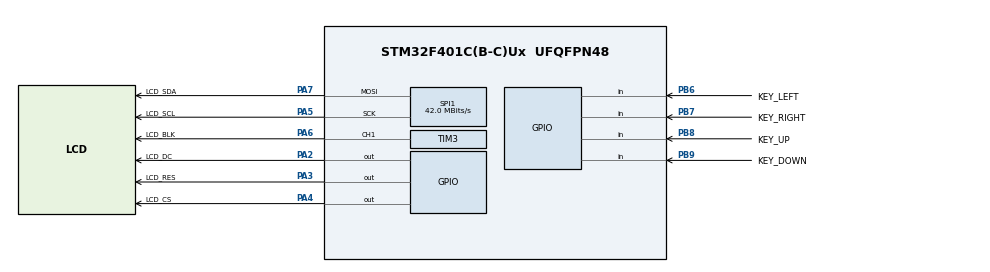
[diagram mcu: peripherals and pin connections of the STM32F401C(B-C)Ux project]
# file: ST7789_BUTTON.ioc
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Dma.Request0=SPI1_TX
Dma.SPI1_TX.0.Direction=DMA_MEMORY_TO_PERIPH
Dma.SPI1_TX.0.FIFOMode=DMA_FIFOMODE_DISABLE
Dma.SPI1_TX.0.Instance=DMA2_Stream3
Dma.SPI1_TX.0.MemDataAlignment=DMA_MDATAALIGN_HALFWORD
Dma.SPI1_TX.0.MemInc=DMA_MINC_ENABLE
Dma.SPI1_TX.0.Mode=DMA_NORMAL
Dma.SPI1_TX.0.PeriphDataAlignment=DMA_PDATAALIGN_HALFWORD
Dma.SPI1_TX.0.PeriphInc=DMA_PINC_DISABLE
Dma.SPI1_TX.0.Priority=DMA_PRIORITY_LOW
Mcu.Family=STM32F4
Mcu.Name=STM32F401C(B-C)Ux
Mcu.Package=UFQFPN48
NVIC.DMA2_Stream3_IRQn=true\:0\:0\:false\:false\:true\:false\:true\:true
NVIC.PriorityGroup=NVIC_PRIORITYGROUP_4
NVIC.TIM1_UP_TIM10_IRQn=true\:0\:0\:false\:false\:true\:true\:true\:true
PA13.Mode=Serial_Wire
PA13.Signal=SYS_JTMS-SWDIO
PA14.Mode=Serial_Wire
PA14.Signal=SYS_JTCK-SWCLK
PA2.GPIO_Label=LCD_DC
PA2.GPIO_Speed=GPIO_SPEED_FREQ_HIGH
PA2.PinState=GPIO_PIN_SET
PA2.Signal=GPIO_Output
PA3.GPIO_Label=LCD_RES
PA3.GPIO_Speed=GPIO_SPEED_FREQ_HIGH
PA3.PinState=GPIO_PIN_SET
PA3.Signal=GPIO_Output
PA4.GPIO_Label=LCD_CS
PA4.GPIO_Speed=GPIO_SPEED_FREQ_HIGH
PA4.PinState=GPIO_PIN_SET
PA4.Signal=GPIO_Output
PA5.GPIO_Label=LCD_SCL
PA5.GPIO_PuPd=GPIO_PULLUP
PA5.Mode=TX_Only_Simplex_Unidirect_Master
PA5.Signal=SPI1_SCK
PA6.GPIO_Label=LCD_BLK
PA6.Signal=S_TIM3_CH1
PA7.GPIO_Label=LCD_SDA
PA7.GPIO_PuPd=GPIO_PULLUP
PA7.Mode=TX_Only_Simplex_Unidirect_Master
PA7.Signal=SPI1_MOSI
PB6.GPIO_Label=KEY_LEFT
PB6.GPIO_Mode=GPIO_MODE_INPUT
PB6.GPIO_PuPd=GPIO_PULLUP
PB6.Signal=GPIO_Input
PB7.GPIO_Label=KEY_RIGHT
PB7.GPIO_Mode=GPIO_MODE_INPUT
PB7.GPIO_PuPd=GPIO_PULLUP
PB7.Signal=GPIO_Input
PB8.GPIO_Label=KEY_UP
PB8.GPIO_Mode=GPIO_MODE_INPUT
PB8.GPIO_PuPd=GPIO_PULLUP
PB8.Signal=GPIO_Input
PB9.GPIO_Label=KEY_DOWN
PB9.GPIO_Mode=GPIO_MODE_INPUT
PB9.GPIO_PuPd=GPIO_PULLUP
PB9.Signal=GPIO_Input
PH0\ -\ OSC_IN.Mode=HSE-External-Oscillator
PH0\ -\ OSC_IN.Signal=RCC_OSC_IN
PH1\ -\ OSC_OUT.Mode=HSE-External-Oscillator
PH1\ -\ OSC_OUT.Signal=RCC_OSC_OUT
ProjectManager.HeapSize=0x200
ProjectManager.StackSize=0x400
ProjectManager.TargetToolchain=STM32CubeIDE
RCC.48MHZClocksFreq_Value=42000000
RCC.AHBFreq_Value=84000000
RCC.APB1CLKDivider=RCC_HCLK_DIV2
RCC.APB1Freq_Value=42000000
RCC.APB1TimFreq_Value=84000000
RCC.APB2Freq_Value=84000000
RCC.APB2TimFreq_Value=84000000
RCC.CortexFreq_Value=84000000
RCC.HCLKFreq_Value=84000000
RCC.HSE_VALUE=25000000
RCC.HSI_VALUE=16000000
RCC.LSE_VALUE=32768
RCC.PLLM=25
RCC.PLLN=168
RCC.PLLSourceVirtual=RCC_PLLSOURCE_HSE
RCC.SYSCLKFreq_VALUE=84000000
RCC.SYSCLKSource=RCC_SYSCLKSOURCE_PLLCLK
RCC.VCOOutputFreq_Value=168000000
SH.S_TIM3_CH1.0=TIM3_CH1,PWM Generation1 CH1
SPI1.BaudRatePrescaler=SPI_BAUDRATEPRESCALER_2
SPI1.CLKPolarity=SPI_POLARITY_HIGH
SPI1.CalculateBaudRate=42.0 MBits/s
SPI1.DataSize=SPI_DATASIZE_8BIT
SPI1.Direction=SPI_DIRECTION_2LINES
SPI1.Mode=SPI_MODE_MASTER
SPI1.VirtualType=VM_MASTER
TIM10.Period=420-1
TIM10.Prescaler=1000-1
TIM3.Channel-PWM\ Generation1\ CH1=TIM_CHANNEL_1
TIM3.Period=210-1
TIM3.Prescaler=1000-1
TIM3.Pulse-PWM\ Generation1\ CH1=104
VP_TIM10_VS_ClockSourceINT.Mode=Enable_Timer
board=custom

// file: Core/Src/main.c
/* USER CODE BEGIN Header */
/**
  ******************************************************************************
  * @file           : main.c
  * @brief          : Main program body
  ******************************************************************************
  * @attention
  *
  * Copyright (c) 2025 STMicroelectronics.
  * All rights reserved.
  *
  * This software is licensed under terms that can be found in the LICENSE file
  * in the root directory of this software component.
  * If no LICENSE file comes with this software, it is provided AS-IS.
  *
  ******************************************************************************
  */
/* USER CODE END Header */
#include "main.h"

/* USER CODE BEGIN Includes */
#include "display.h"
#include "st7789.h"
#include "ili9341.h"
#include "keyboard.h"
#include <stdlib.h>
/* USER CODE END Includes */

TIM_HandleTypeDef htim10;

/* USER CODE BEGIN PV */
volatile uint32_t millis = 0;
/* USER CODE END PV */

void SystemClock_Config(void);
static void MX_GPIO_Init(void);
static void MX_DMA_Init(void);
static void MX_SPI1_Init(void);
static void MX_TIM3_Init(void);
static void MX_TIM10_Init(void);
/* USER CODE BEGIN PFP */
void write_sym(LCD_Handler *lcd, char *str){
	LCD_WriteString(lcd, lcd->AtPos.x, lcd->AtPos.y, str, &Font_15x25, COLOR_WHITE, COLOR_BLACK, LCD_SYMBOL_PRINT_FAST);
	return;
}
/* USER CODE END PFP */

int main(void)
{

  /* USER CODE BEGIN 1 */
	/* включаем кэширование инструкций */
	#if (INSTRUCTION_CACHE_ENABLE != 0U)
		((FLASH_TypeDef *) ((0x40000000UL + 0x00020000UL) + 0x3C00UL))->ACR |= (0x1UL << (9U));
	#endif
	/* включаем кэширование данных */
	#if (DATA_CACHE_ENABLE != 0U)
		((FLASH_TypeDef *) ((0x40000000UL + 0x00020000UL) + 0x3C00UL))->ACR |= (0x1UL << (10U));
	#endif
	/* включаем систему предварительной выборки инструкций*/
	#if (PREFETCH_ENABLE != 0U)
		((FLASH_TypeDef *) ((0x40000000UL + 0x00020000UL) + 0x3C00UL))->ACR |= (0x1UL << (8U));
	#endif
  /* USER CODE END 1 */

  /* MCU Configuration--------------------------------------------------------*/

  /* Reset of all peripherals, Initializes the Flash interface and the Systick. */
  HAL_Init();

  /* Configure the system clock */
  SystemClock_Config();

  /* USER CODE BEGIN SysInit */
  SysTick_Config(SystemCoreClock/1000);
  /* USER CODE END SysInit */

  /* Initialize all configured peripherals */
  MX_GPIO_Init();
  MX_DMA_Init();
  MX_SPI1_Init();
  MX_TIM3_Init();
  MX_TIM10_Init();
  /* USER CODE BEGIN 2 */
  KEYB_Add_Button(KEY_LEFT_GPIO_Port , KEY_LEFT_Pin , KEYB_LEFT , KEYB_BUTTON_ACTIVE);
  KEYB_Add_Button(KEY_RIGHT_GPIO_Port, KEY_RIGHT_Pin, KEYB_RIGHT, KEYB_BUTTON_ACTIVE);
  KEYB_Add_Button(KEY_UP_GPIO_Port   , KEY_UP_Pin   , KEYB_UP   , KEYB_BUTTON_ACTIVE);
  KEYB_Add_Button(KEY_DOWN_GPIO_Port , KEY_DOWN_Pin , KEYB_DOWN , KEYB_BUTTON_ACTIVE);

  TIM10->DIER |= TIM_DIER_UIE;//Habilita la interrupción por desbordamiento (update interrupt)
  TIM10->CR1  |= TIM_CR1_CEN;//Inicia (habilita) el temporizador, esto hace que el timer empiece a contar.

  uint32_t k_inkey = 0;

  LCD_DMA_TypeDef dma_tx = { DMA2,
		  	  	  	  	     LL_DMA_STREAM_3 };

  LCD_BackLight_data bkl_data = { TIM3,
		  	  	  	  	  	  	  LL_TIM_CHANNEL_CH1,
								  0,
								  0,
								  50  };

  LCD_SPI_Connected_data spi_con = { SPI1,
		  	  	  	  	  	  	  	 dma_tx,
									 LCD_RES_GPIO_Port,
									 LCD_RES_Pin,
									 LCD_DC_GPIO_Port,
									 LCD_DC_Pin,
									 LCD_CS_GPIO_Port,
								 	 LCD_CS_Pin         };

#ifndef LCD_DYNAMIC_MEM
  LCD_Handler lcd1;
#endif

/*  Для дисплея на контроллере ST7789   */

  LCD = LCD_DisplayAdd( LCD,
#ifndef LCD_DYNAMIC_MEM
		  	  	  	  	&lcd1,
#endif
		  	  	  	  	170,
		   				320,
						ST7789_CONTROLLER_WIDTH,
						ST7789_CONTROLLER_HEIGHT,
						//Задаем смещение по ширине и высоте для нестандартных или бракованных дисплеев:
						-35,		//смещение по ширине дисплейной матрицы
						0,		//смещение по высоте дисплейной матрицы
						PAGE_ORIENTATION_LANDSCAPE,
						ST7789_Init,
						ST7789_SetWindow,
						ST7789_SleepIn,
						ST7789_SleepOut,
						&spi_con,
						LCD_DATA_16BIT_BUS,
						bkl_data );

  /*  Для дисплея на контроллере ILI9341   */
/*
  LCD = LCD_DisplayAdd( LCD,
#ifndef LCD_DYNAMIC_MEM
		  	  	  	  	&lcd1,
#endif
		  	  	  	  	320,
		   				240,
						ILI9341_CONTROLLER_WIDTH,
						ILI9341_CONTROLLER_HEIGHT,
						//Задаем смещение по ширине и высоте для нестандартных или бракованных дисплеев:
						0,		//смещение по ширине дисплейной матрицы
						-4,		//смещение по высоте дисплейной матрицы
						//PAGE_ORIENTATION_PORTRAIT_MIRROR,
						PAGE_ORIENTATION_LANDSCAPE_MIRROR,
						ILI9341_Init,
						ILI9341_SetWindow,
						ILI9341_SleepIn,
						ILI9341_SleepOut,
						&spi_con,
						LCD_DATA_16BIT_BUS,
						bkl_data );
*/
  LCD_Handler *lcd = LCD; //указатель на первый дисплей в списке
  LCD_Init(lcd);
  LCD_Fill(lcd, COLOR_GREEN);

  /* USER CODE END 2 */

  /* Infinite loop */
  /* USER CODE BEGIN WHILE */
  while (1)
  {
	  k_inkey = KEYB_Inkeys();
	  if (k_inkey & (1<<KEYB_LEFT)) {write_sym(lcd, "L");}
	  if (k_inkey & (1<<KEYB_RIGHT)){write_sym(lcd, "R");}
	  if (k_inkey & (1<<KEYB_UP))   {write_sym(lcd, "U");}
	  if (k_inkey & (1<<KEYB_DOWN)) {write_sym(lcd, "X");}
	  //LL_mDelay(200);
  }

  while (1)
  {
    /* USER CODE END WHILE */

  }
}

void SystemClock_Config(void)
{
  LL_FLASH_SetLatency(LL_FLASH_LATENCY_2);
  while(LL_FLASH_GetLatency()!= LL_FLASH_LATENCY_2)
  {
  }
  LL_PWR_SetRegulVoltageScaling(LL_PWR_REGU_VOLTAGE_SCALE2);
  LL_RCC_HSE_Enable();

   /* Wait till HSE is ready */
  while(LL_RCC_HSE_IsReady() != 1)
  {

  }
  LL_RCC_PLL_ConfigDomain_SYS(LL_RCC_PLLSOURCE_HSE, LL_RCC_PLLM_DIV_25, 168, LL_RCC_PLLP_DIV_2);
  LL_RCC_PLL_Enable();

   /* Wait till PLL is ready */
  while(LL_RCC_PLL_IsReady() != 1)
  {

  }
  while (LL_PWR_IsActiveFlag_VOS() == 0)
  {
  }
  LL_RCC_SetAHBPrescaler(LL_RCC_SYSCLK_DIV_1);
  LL_RCC_SetAPB1Prescaler(LL_RCC_APB1_DIV_2);
  LL_RCC_SetAPB2Prescaler(LL_RCC_APB2_DIV_1);
  LL_RCC_SetSysClkSource(LL_RCC_SYS_CLKSOURCE_PLL);

   /* Wait till System clock is ready */
  while(LL_RCC_GetSysClkSource() != LL_RCC_SYS_CLKSOURCE_STATUS_PLL)
  {

  }
  LL_SetSystemCoreClock(84000000);

   /* Update the time base */
  if (HAL_InitTick (TICK_INT_PRIORITY) != HAL_OK)
  {
    Error_Handler();
  }
  LL_RCC_SetTIMPrescaler(LL_RCC_TIM_PRESCALER_TWICE);
}

static void MX_SPI1_Init(void)
{

  LL_SPI_InitTypeDef SPI_InitStruct = {0};

  LL_GPIO_InitTypeDef GPIO_InitStruct = {0};

  /* Peripheral clock enable */
  LL_APB2_GRP1_EnableClock(LL_APB2_GRP1_PERIPH_SPI1);

  LL_AHB1_GRP1_EnableClock(LL_AHB1_GRP1_PERIPH_GPIOA);
  /**SPI1 GPIO Configuration
  PA5   ------> SPI1_SCK
  PA7   ------> SPI1_MOSI
  */
  GPIO_InitStruct.Pin = LCD_SCL_Pin|LCD_SDA_Pin;
  GPIO_InitStruct.Mode = LL_GPIO_MODE_ALTERNATE;
  GPIO_InitStruct.Speed = LL_GPIO_SPEED_FREQ_VERY_HIGH;
  GPIO_InitStruct.OutputType = LL_GPIO_OUTPUT_PUSHPULL;
  GPIO_InitStruct.Pull = LL_GPIO_PULL_UP;
  GPIO_InitStruct.Alternate = LL_GPIO_AF_5;
  LL_GPIO_Init(GPIOA, &GPIO_InitStruct);

  /* SPI1 DMA Init */

  /* SPI1_TX Init */
  LL_DMA_SetChannelSelection(DMA2, LL_DMA_STREAM_3, LL_DMA_CHANNEL_3);

  LL_DMA_SetDataTransferDirection(DMA2, LL_DMA_STREAM_3, LL_DMA_DIRECTION_MEMORY_TO_PERIPH);

  LL_DMA_SetStreamPriorityLevel(DMA2, LL_DMA_STREAM_3, LL_DMA_PRIORITY_LOW);

  LL_DMA_SetMode(DMA2, LL_DMA_STREAM_3, LL_DMA_MODE_NORMAL);

  LL_DMA_SetPeriphIncMode(DMA2, LL_DMA_STREAM_3, LL_DMA_PERIPH_NOINCREMENT);

  LL_DMA_SetMemoryIncMode(DMA2, LL_DMA_STREAM_3, LL_DMA_MEMORY_INCREMENT);

  LL_DMA_SetPeriphSize(DMA2, LL_DMA_STREAM_3, LL_DMA_PDATAALIGN_HALFWORD);

  LL_DMA_SetMemorySize(DMA2, LL_DMA_STREAM_3, LL_DMA_MDATAALIGN_HALFWORD);

  LL_DMA_DisableFifoMode(DMA2, LL_DMA_STREAM_3);

  /* SPI1 parameter configuration*/
  SPI_InitStruct.TransferDirection = LL_SPI_FULL_DUPLEX;
  SPI_InitStruct.Mode = LL_SPI_MODE_MASTER;
  SPI_InitStruct.DataWidth = LL_SPI_DATAWIDTH_8BIT;
  SPI_InitStruct.ClockPolarity = LL_SPI_POLARITY_HIGH;
  SPI_InitStruct.ClockPhase = LL_SPI_PHASE_1EDGE;
  SPI_InitStruct.NSS = LL_SPI_NSS_SOFT;
  SPI_InitStruct.BaudRate = LL_SPI_BAUDRATEPRESCALER_DIV2;
  SPI_InitStruct.BitOrder = LL_SPI_MSB_FIRST;
  SPI_InitStruct.CRCCalculation = LL_SPI_CRCCALCULATION_DISABLE;
  SPI_InitStruct.CRCPoly = 10;
  LL_SPI_Init(SPI1, &SPI_InitStruct);
  LL_SPI_SetStandard(SPI1, LL_SPI_PROTOCOL_MOTOROLA);

}

static void MX_TIM3_Init(void)
{

  LL_TIM_InitTypeDef TIM_InitStruct = {0};
  LL_TIM_OC_InitTypeDef TIM_OC_InitStruct = {0};

  LL_GPIO_InitTypeDef GPIO_InitStruct = {0};

  /* Peripheral clock enable */
  LL_APB1_GRP1_EnableClock(LL_APB1_GRP1_PERIPH_TIM3);

  TIM_InitStruct.Prescaler = 999;
  TIM_InitStruct.CounterMode = LL_TIM_COUNTERMODE_UP;
  TIM_InitStruct.Autoreload = 210-LL_TIM_IC_FILTER_FDIV1_N2;
  TIM_InitStruct.ClockDivision = LL_TIM_CLOCKDIVISION_DIV1;
  LL_TIM_Init(TIM3, &TIM_InitStruct);
  LL_TIM_DisableARRPreload(TIM3);
  LL_TIM_OC_EnablePreload(TIM3, LL_TIM_CHANNEL_CH1);
  TIM_OC_InitStruct.OCMode = LL_TIM_OCMODE_PWM1;
  TIM_OC_InitStruct.OCState = LL_TIM_OCSTATE_DISABLE;
  TIM_OC_InitStruct.OCNState = LL_TIM_OCSTATE_DISABLE;
  TIM_OC_InitStruct.CompareValue = 104;
  TIM_OC_InitStruct.OCPolarity = LL_TIM_OCPOLARITY_HIGH;
  LL_TIM_OC_Init(TIM3, LL_TIM_CHANNEL_CH1, &TIM_OC_InitStruct);
  LL_TIM_OC_DisableFast(TIM3, LL_TIM_CHANNEL_CH1);
  LL_TIM_SetTriggerOutput(TIM3, LL_TIM_TRGO_RESET);
  LL_TIM_DisableMasterSlaveMode(TIM3);
  LL_AHB1_GRP1_EnableClock(LL_AHB1_GRP1_PERIPH_GPIOA);
  /**TIM3 GPIO Configuration
  PA6   ------> TIM3_CH1
  */
  GPIO_InitStruct.Pin = LCD_BLK_Pin;
  GPIO_InitStruct.Mode = LL_GPIO_MODE_ALTERNATE;
  GPIO_InitStruct.Speed = LL_GPIO_SPEED_FREQ_LOW;
  GPIO_InitStruct.OutputType = LL_GPIO_OUTPUT_PUSHPULL;
  GPIO_InitStruct.Pull = LL_GPIO_PULL_NO;
  GPIO_InitStruct.Alternate = LL_GPIO_AF_2;
  LL_GPIO_Init(LCD_BLK_GPIO_Port, &GPIO_InitStruct);

}

static void MX_TIM10_Init(void)
{

  htim10.Instance = TIM10;
  htim10.Init.Prescaler = 1000-1;
  htim10.Init.CounterMode = TIM_COUNTERMODE_UP;
  htim10.Init.Period = 420-1;
  htim10.Init.ClockDivision = TIM_CLOCKDIVISION_DIV1;
  htim10.Init.AutoReloadPreload = TIM_AUTORELOAD_PRELOAD_DISABLE;
  if (HAL_TIM_Base_Init(&htim10) != HAL_OK)
  {
    Error_Handler();
  }

}

static void MX_DMA_Init(void)
{

  /* Init with LL driver */
  /* DMA controller clock enable */
  LL_AHB1_GRP1_EnableClock(LL_AHB1_GRP1_PERIPH_DMA2);

  /* DMA interrupt init */
  /* DMA2_Stream3_IRQn interrupt configuration */
  NVIC_SetPriority(DMA2_Stream3_IRQn, NVIC_EncodePriority(NVIC_GetPriorityGrouping(),0, 0));
  NVIC_EnableIRQ(DMA2_Stream3_IRQn);

}

static void MX_GPIO_Init(void)
{
  LL_GPIO_InitTypeDef GPIO_InitStruct = {0};

  /* GPIO Ports Clock Enable */
  LL_AHB1_GRP1_EnableClock(LL_AHB1_GRP1_PERIPH_GPIOH);
  LL_AHB1_GRP1_EnableClock(LL_AHB1_GRP1_PERIPH_GPIOA);
  LL_AHB1_GRP1_EnableClock(LL_AHB1_GRP1_PERIPH_GPIOB);

  /**/
  LL_GPIO_SetOutputPin(GPIOA, LCD_DC_Pin|LCD_RES_Pin|LCD_CS_Pin);

  /**/
  GPIO_InitStruct.Pin = LCD_DC_Pin|LCD_RES_Pin|LCD_CS_Pin;
  GPIO_InitStruct.Mode = LL_GPIO_MODE_OUTPUT;
  GPIO_InitStruct.Speed = LL_GPIO_SPEED_FREQ_HIGH;
  GPIO_InitStruct.OutputType = LL_GPIO_OUTPUT_PUSHPULL;
  GPIO_InitStruct.Pull = LL_GPIO_PULL_NO;
  LL_GPIO_Init(GPIOA, &GPIO_InitStruct);

  /**/
  GPIO_InitStruct.Pin = KEY_LEFT_Pin|KEY_RIGHT_Pin|KEY_UP_Pin|KEY_DOWN_Pin;
  GPIO_InitStruct.Mode = LL_GPIO_MODE_INPUT;
  GPIO_InitStruct.Pull = LL_GPIO_PULL_UP;
  LL_GPIO_Init(GPIOB, &GPIO_InitStruct);

}

void Error_Handler(void)
{
  __disable_irq();
  while (1)
  {
  }
}
